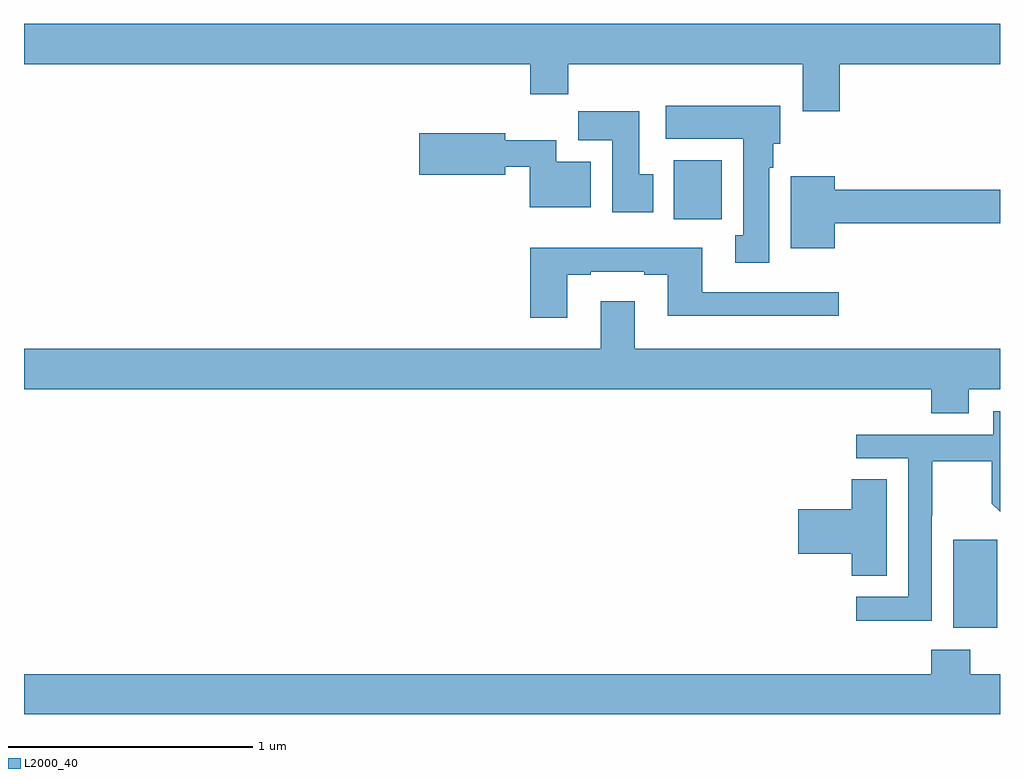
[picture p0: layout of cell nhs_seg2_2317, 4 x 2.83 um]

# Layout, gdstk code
import gdstk
lib = gdstk.Library(unit=1e-6, precision=1e-09)
def R(c, l, rs):  # rectangles x0, y0, x1, y1
    for r in rs: c.add(gdstk.rectangle(r[:2], r[2:], *l))
def P(c, l, *ps):  # polygons
    for p in ps: c.add(gdstk.Polygon(p, *l))
L2000_40 = (2000, 40)

nhs_seg2_2317 = lib.new_cell('nhs_seg2_2317')
R(nhs_seg2_2317, L2000_40, [(234.809,654.65,234.988,655.011), (233.663,656.324,233.86,656.566)])
P(nhs_seg2_2317, L2000_40, [(234.344,656.96),(235,656.96),(235,657.124),(231,657.124),(231,656.96),(233.075,656.96),(233.075,656.836),(233.231,656.836),(233.231,656.96),(234.191,656.96),(234.191,656.766),(234.344,656.766)],
  [(234.055,656.534),(234.07,656.534),(234.07,656.634),(234.1,656.634),(234.1,656.788),(233.631,656.788),(233.631,656.654),(233.948,656.654),(233.948,656.258),(233.915,656.258),(233.915,656.145),(234.055,656.145)],
  [(233.578,656.508),(233.521,656.508),(233.521,656.767),(233.272,656.767),(233.272,656.648),(233.411,656.648),(233.411,656.352),(233.578,656.352)],
  [(233.323,656.56),(233.182,656.56),(233.182,656.648),(232.972,656.648),(232.972,656.677),(232.62,656.677),(232.62,656.507),(232.972,656.507),(232.972,656.538),(233.072,656.538),(233.072,656.372),(233.323,656.372)],
  [(234.322,656.308),(235,656.308),(235,656.444),(234.322,656.444),(234.322,656.5),(234.143,656.5),(234.143,656.204),(234.322,656.204)],
  [(233.227,656.097),(233.323,656.097),(233.323,656.109),(233.543,656.109),(233.543,656.097),(233.639,656.097),(233.639,655.928),(234.34,655.928),(234.34,656.025),(233.779,656.025),(233.779,656.206),(233.075,656.206),(233.075,655.92),(233.227,655.92)],
  [(234.871,655.628),(235,655.628),(235,655.792),(233.503,655.792),(233.503,655.987),(233.363,655.987),(233.363,655.792),(231,655.792),(231,655.628),(234.719,655.628),(234.719,655.529),(234.871,655.529)],
  [(234.72,655.108),(234.723,655.108),(234.723,655.332),(234.967,655.332),(234.967,655.157),(235,655.124),(235,655.537),(234.972,655.537),(234.972,655.44),(234.411,655.44),(234.411,655.344),(234.624,655.344),(234.624,654.777),(234.411,654.777),(234.411,654.679),(234.72,654.679)],
  [(234.535,655.259),(234.392,655.259),(234.392,655.136),(234.174,655.136),(234.174,654.953),(234.392,654.953),(234.392,654.862),(234.535,654.862)],
  [(235,654.46),(234.879,654.46),(234.879,654.559),(234.719,654.559),(234.719,654.46),(231,654.46),(231,654.296),(235,654.296)])

lib.write_gds('nhs_seg2_2317.gds')
